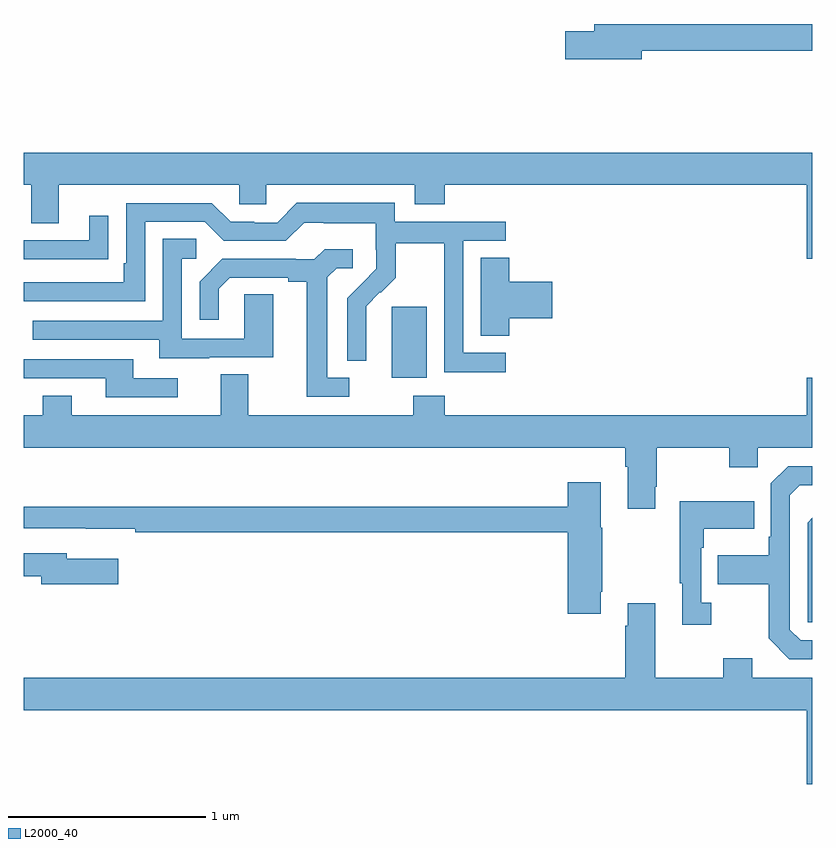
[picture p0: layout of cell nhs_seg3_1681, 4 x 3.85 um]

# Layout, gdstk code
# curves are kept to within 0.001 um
import gdstk
lib = gdstk.Library(unit=1e-6, precision=1e-09)
def R(c, l, rs):  # rectangles x0, y0, x1, y1
    for r in rs: c.add(gdstk.rectangle(r[:2], r[2:], *l))
def P(c, l, *ps):  # polygons
    for p in ps: c.add(gdstk.Polygon(p, *l))
L2000_40 = (2000, 40)

nhs_seg3_1681 = lib.new_cell('nhs_seg3_1681')
R(nhs_seg3_1681, L2000_40, [(198.866,734.57,199.045,734.931)])
P(nhs_seg3_1681, L2000_40, [(200.134,736.228),(201,736.228),(201,736.364),(199.895,736.364),(199.895,736.328),(199.746,736.328),(199.746,736.186),(200.134,736.186)],
  [(201,735.712),(197,735.712),(197,735.548),(197.039,735.548),(197.039,735.354),(197.179,735.354),(197.179,735.548),(198.093,735.548),(198.093,735.45),(198.231,735.45),(198.231,735.548),(198.983,735.548),(198.983,735.449),(199.136,735.449),(199.136,735.548),(200.972,735.548),(200.972,735.174),(201,735.174)],
  [(199.444,734.697),(199.23,734.697),(199.23,735.264),(199.444,735.264),(199.444,735.36),(198.882,735.36),(198.882,735.457),(198.385,735.457),(198.285,735.357),(198.17,735.357),(198.17,735.36),(198.051,735.36),(197.955,735.456),(197.52,735.456),(197.52,735.151),(197.507,735.151),(197.507,735.054),(197,735.054),(197,734.958),(197.616,734.958),(197.616,735.36),(197.919,735.36),(198.015,735.264),(198.33,735.264),(198.423,735.357),(198.523,735.357),(198.523,735.353),(198.786,735.353),(198.786,735.219),(198.788,735.219),(198.788,735.122),(198.642,734.974),(198.642,734.656),(198.738,734.656),(198.737,734.933),(198.807,735.003),(198.81,735),(198.887,735.077),(198.887,735.252),(199.132,735.252),(199.132,735.028),(199.134,735.028),(199.134,734.599),(199.444,734.599)],
  [(197.327,735.172),(197.429,735.172),(197.429,735.391),(197.333,735.391),(197.333,735.267),(197,735.267),(197,735.171),(197.327,735.171)],
  [(197.941,734.673),(198.265,734.673),(198.265,734.993),(198.12,734.993),(198.12,734.769),(197.802,734.769),(197.802,735.174),(197.875,735.174),(197.875,735.275),(197.706,735.275),(197.706,734.859),(197.047,734.859),(197.047,734.763),(197.687,734.763),(197.687,734.669),(197.941,734.669)],
  [(198.652,734.571),(198.541,734.571),(198.541,735.079),(198.588,735.126),(198.67,735.126),(198.67,735.223),(198.526,735.223),(198.474,735.171),(198.38,735.171),(198.38,735.174),(198.008,735.174),(197.892,735.058),(197.892,734.865),(197.989,734.865),(197.989,735.021),(198.046,735.078),(198.341,735.078),(198.341,735.056),(198.437,735.056),(198.437,734.475),(198.652,734.475)],
  [(199.463,734.873),(199.681,734.873),(199.681,735.056),(199.463,735.056),(199.463,735.179),(199.319,735.179),(199.319,734.782),(199.463,734.782)],
  [(197.782,734.568),(197.557,734.568),(197.557,734.664),(197,734.664),(197,734.568),(197.417,734.568),(197.417,734.472),(197.782,734.472)],
  [(200.203,734.017),(200.211,734.017),(200.211,734.216),(200.578,734.216),(200.578,734.117),(200.724,734.117),(200.724,734.216),(201,734.216),(201,734.569),(200.972,734.569),(200.972,734.38),(199.136,734.38),(199.136,734.479),(198.976,734.479),(198.976,734.38),(198.139,734.38),(198.139,734.588),(197.999,734.588),(197.999,734.38),(197.245,734.38),(197.245,734.479),(197.098,734.479),(197.098,734.38),(197,734.38),(197,734.216),(200.051,734.216),(200.051,734.12),(200.063,734.12),(200.063,733.905),(200.203,733.905)],
  [(201,733.239),(200.94,733.239),(200.886,733.293),(200.886,733.974),(200.937,734.025),(201,734.025),(201,734.121),(200.877,734.121),(200.79,734.034),(200.79,733.765),(200.778,733.765),(200.778,733.669),(200.521,733.669),(200.521,733.522),(200.778,733.522),(200.778,733.249),(200.883,733.143),(201,733.143)],
  [(199.927,733.486),(199.935,733.486),(199.935,733.809),(199.927,733.809),(199.927,734.041),(199.76,734.041),(199.76,733.915),(197,733.915),(197,733.806),(197.314,733.806),(197.314,733.805),(197.566,733.805),(197.566,733.786),(199.76,733.786),(199.76,733.374),(199.927,733.374)],
  [(200.488,733.43),(200.436,733.43),(200.436,733.709),(200.449,733.709),(200.449,733.805),(200.705,733.805),(200.705,733.945),(200.328,733.945),(200.328,733.529),(200.339,733.529),(200.339,733.317),(200.488,733.317)],
  [(201,733.86),(200.976,733.836),(200.976,733.329),(201,733.329)],
  [(197.479,733.651),(197.218,733.651),(197.218,733.68),(197,733.68),(197,733.564),(197.09,733.564),(197.09,733.522),(197.479,733.522)],
  [(201,733.048),(200.695,733.048),(200.695,733.147),(200.548,733.147),(200.548,733.048),(200.203,733.048),(200.203,733.426),(200.063,733.426),(200.063,733.313),(200.051,733.313),(200.051,733.048),(197,733.048),(197,732.884),(200.972,732.884),(200.972,732.51),(201,732.51)])

lib.write_gds('nhs_seg3_1681.gds')
